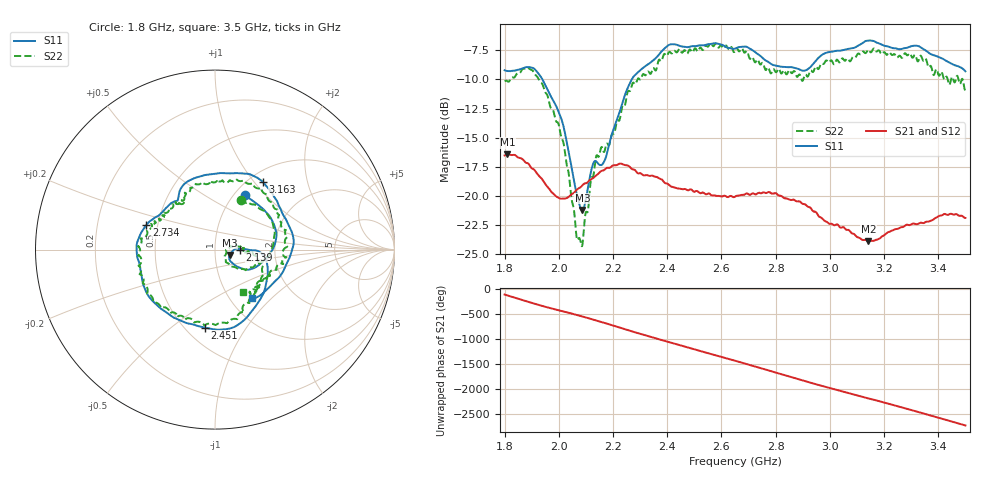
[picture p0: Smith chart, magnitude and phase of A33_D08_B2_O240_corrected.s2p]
! Created with skrf 1.9.0 (http://scikit-rf.org).
# Hz S RI R 50.0
!freq ReS11 ImS11 ReS21 ImS21 ReS12 ImS12 ReS22 ImS22
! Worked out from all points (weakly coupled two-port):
!   1601 points, 1.8 GHz to 3.5 GHz, reference 50 ohm
!   highest |S21| = -16.44 dB at 1.811 GHz (marker M1); lowest = -23.9 dB at 3.142 GHz (marker M2)
!   lowest |S11| = -21.2 dB at 2.087 GHz (marker M3), VSWR 1.19, Z = 58.8 - j3.6 ohm
!   |S11| at or under -10 dB: 1.94 GHz to 2.269 GHz (329.7 MHz wide, 15.7 % of centre)
!   |S22| runs from -24.3 to -6.9 dB; largest |S21 - S12| = 0.0029
!   S11 on the Smith chart (normalised r, x): 1.8 GHz: 1.11, +0.77; 2.139 GHz: 1.33, +0.00; 2.451 GHz: 0.62, -0.67; 2.734 GHz: 0.43, +0.14; 3.163 GHz: 1.17, +1.11; 3.5 GHz: 1.26, -0.78
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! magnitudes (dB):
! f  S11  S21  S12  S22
! 1.8 GHz  -9.2  -16.5  -16.5  -10.2
! 1.811 GHz  -9.3  -16.4  -16.4  -10.2
! 1.886 GHz  -8.9  -17.2  -17.3  -9.0
! 1.942 GHz  -10.1  -18.7  -18.7  -10.6
! 2.011 GHz  -13.5  -20.2  -20.2  -15.1
! 2.066 GHz  -19.8  -19.5  -19.5  -23.5
! 2.084 GHz  -21.2  -19.2  -19.1  -24.3
! 2.087 GHz  -21.2  -19.1  -19.1  -24.2
! 2.139 GHz  -17.1  -18.2  -18.2  -16.5
! 2.169 GHz  -17.0  -17.7  -17.8  -16.2
! 2.27 GHz  -10.0  -17.7  -17.6  -10.5
! 2.367 GHz  -7.9  -18.5  -18.4  -8.4
! 2.451 GHz  -7.2  -19.4  -19.4  -7.6
! 2.65 GHz  -7.4  -20.1  -20.0  -7.6
! 2.734 GHz  -7.8  -19.8  -19.8  -8.3
! 2.898 GHz  -9.2  -20.7  -20.7  -10.1
! 2.934 GHz  -8.8  -21.2  -21.2  -9.3
! 3.142 GHz  -6.7  -23.9  -23.8  -7.5
! 3.163 GHz  -6.7  -23.8  -23.8  -7.4
! 3.217 GHz  -7.2  -23.1  -23.1  -7.7
! 3.341 GHz  -7.3  -22.3  -22.3  -8.2
! 3.5 GHz  -9.3  -21.9  -21.9  -10.9
